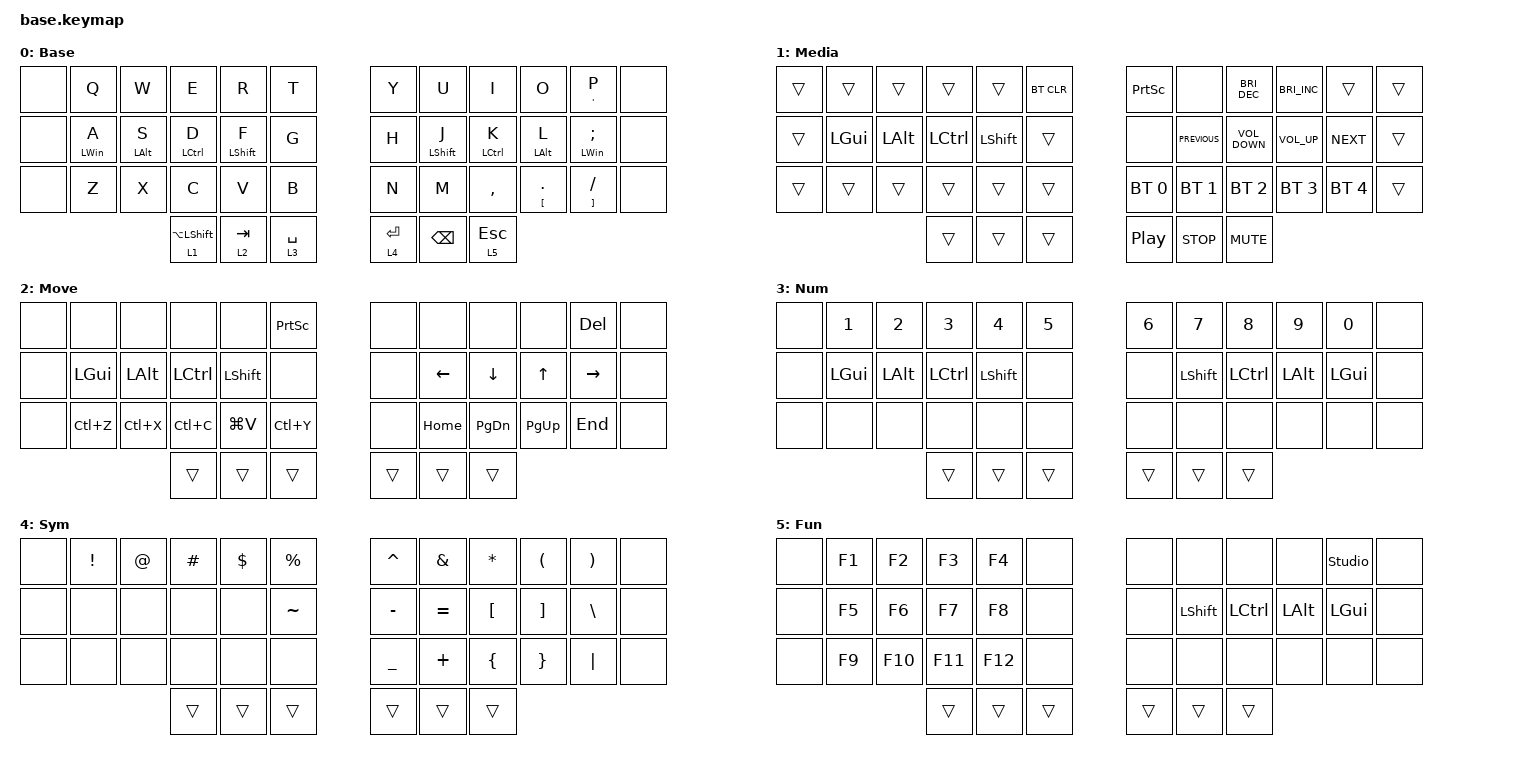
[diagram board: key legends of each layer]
#include <behaviors.dtsi>
#include <behaviors/num_word.dtsi> // requires auto-layer module
#include <dt-bindings/zmk/keys.h>
#ifdef CONFIG_WIRELESS
    #include <dt-bindings/zmk/bt.h>
    #include <dt-bindings/zmk/outputs.h>
    #define _BT_SEL_KEYS_ &bt BT_SEL 0 &bt BT_SEL 1 &bt BT_SEL 2 &bt BT_SEL 3 &bt BT_CLR
#else
    #define _BT_SEL_KEYS_ &trans &trans &trans &trans &trans
#endif

#include "zmk-helpers/helper.h"
/*
 * Copyright (c) 2020 The ZMK Contributors
 *
 * SPDX-License-Identifier: MIT
 */

#include <behaviors.dtsi>
#include <dt-bindings/zmk/bt.h>
#include <dt-bindings/zmk/keys.h>

/ {
    macros {
        lang: lang {
            compatible = "zmk,behavior-macro";
            #binding-cells = <0>;
            bindings = <&kp LA(LS(LEFT_SHIFT))>;
            label = "LANG";
        };
    };

    behaviors {
        new_behavior: new_behavior {
            compatible = "zmk,behavior-hold-tap";
            label = "NEW_BEHAVIOR";
            #binding-cells = <2>;
            hold-trigger-key-positions = <13 14 15 16 19 21 20 22>;
            flavor = "tap-preferred";
            bindings = <&mt>, <&kp>;

            tapping-term-ms = <150>;
            quick-tap-ms = <100>;
        };
    };

    keymap {
        compatible = "zmk,keymap";

        Base {
            // -----------------------------------------------------------------------------------------
            // |  TAB |  Q  |  W  |  E  |  R  |  T  |   |  Y  |  U   |  I  |  O  |  P  | BSPC |
            // | CTRL |  A  |  S  |  D  |  F  |  G  |   |  H  |  J   |  K  |  L  |  ;  |  '   |
            // | SHFT |  Z  |  X  |  C  |  V  |  B  |   |  N  |  M   |  ,  |  .  |  /  | ESC  |
            //                    | GUI | LWR | SPC |   | ENT | RSE  | ALT |

            bindings = <
&none  &kp Q           &kp W           &kp E                 &kp R             &kp T          &kp Y        &kp U             &kp I         &kp O                 &mt SQT P               &none
&none  &mt LEFT_WIN A  &mt LEFT_ALT S  &mt LCTRL D           &mt LEFT_SHIFT F  &kp G          &kp H        &mt LEFT_SHIFT J  &mt LCTRL K   &mt LEFT_ALT L        &mt LEFT_WIN SEMI       &none
&none  &kp Z           &kp X           &kp C                 &kp V             &kp B          &kp N        &kp M             &kp COMMA     &mt LEFT_BRACKET DOT  &mt RIGHT_BRACKET FSLH  &none
                                       &lt 1 LA(LEFT_SHIFT)  &lt 2 TAB         &lt 3 SPACE    &lt 4 ENTER  &kp BACKSPACE     &lt 5 ESCAPE
            >;

            label = "Base";
        };

        Media {
            bindings = <
&trans  &trans    &trans    &trans     &trans     &bt BT_CLR    &kp PRINTSCREEN   &none           &kp C_BRIGHTNESS_DEC  &kp C_BRIGHTNESS_INC  &trans        &trans
&trans  &kp LGUI  &kp LALT  &kp LCTRL  &kp LSHFT  &trans        &none             &kp C_PREVIOUS  &kp C_VOLUME_DOWN     &kp C_VOLUME_UP       &kp C_NEXT    &trans
&trans  &trans    &trans    &trans     &trans     &trans        &bt BT_SEL 0      &bt BT_SEL 1    &bt BT_SEL 2          &bt BT_SEL 3          &bt BT_SEL 4  &trans
                            &trans     &trans     &trans        &kp C_PLAY_PAUSE  &kp C_STOP      &kp C_MUTE
            >;

            label = "Media";
        };

        Move {
            bindings = <
&none  &none      &none      &none      &none      &kp PRINTSCREEN    &none   &none     &none          &none        &kp DELETE  &none
&none  &kp LGUI   &kp LALT   &kp LCTRL  &kp LSHFT  &none              &none   &kp LEFT  &kp DOWN       &kp UP       &kp RIGHT   &none
&none  &kp LC(Z)  &kp LC(X)  &kp LC(C)  &kp LG(V)  &kp LC(Y)          &none   &kp HOME  &kp PAGE_DOWN  &kp PAGE_UP  &kp END     &none
                             &trans     &trans     &trans             &trans  &trans    &trans
            >;

            label = "Move";
        };

        Number {
            bindings = <
&none  &kp N1    &kp N2    &kp N3     &kp N4     &kp N5    &kp N6  &kp N7     &kp N8     &kp N9    &kp N0    &none
&none  &kp LGUI  &kp LALT  &kp LCTRL  &kp LSHFT  &none     &none   &kp LSHFT  &kp LCTRL  &kp LALT  &kp LGUI  &none
&none  &none     &none     &none      &none      &none     &none   &none      &none      &none     &none     &none
                           &trans     &trans     &trans    &trans  &trans     &trans
            >;

            label = "Num";
        };

        Symbol {
            // -----------------------------------------------------------------------------------------
            // |  TAB |  !  |  @  |  #  |  $  |  %  |   |  ^  |  &  |  *  |  (  |  )  | BSPC |
            // | CTRL |     |     |     |     |     |   |  -  |  =  |  [  |  ]  |  \  |  `   |
            // | SHFT |     |     |     |     |     |   |  _  |  +  |  {  |  }  | "|" |  ~   |
            //                    | GUI |     | SPC |   | ENT |     | ALT |

            bindings = <
&none  &kp EXCL  &kp AT  &kp HASH  &kp DLLR  &kp PRCNT    &kp CARET  &kp AMPS   &kp ASTRK  &kp LPAR  &kp RPAR  &none
&none  &none     &none   &none     &none     &kp TILDE    &kp MINUS  &kp EQUAL  &kp LBKT   &kp RBKT  &kp BSLH  &none
&none  &none     &none   &none     &none     &none        &kp UNDER  &kp PLUS   &kp LBRC   &kp RBRC  &kp PIPE  &none
                         &trans    &trans    &trans       &trans     &trans     &trans
            >;

            label = "Sym";
        };

        Function {
            bindings = <
&none  &kp F1  &kp F2   &kp F3   &kp F4   &none     &none   &none      &none      &none     &studio_unlock    &none
&none  &kp F5  &kp F6   &kp F7   &kp F8   &none     &none   &kp LSHFT  &kp LCTRL  &kp LALT  &kp LGUI  &none
&none  &kp F9  &kp F10  &kp F11  &kp F12  &none     &none   &none      &none      &none     &none     &none
                        &trans   &trans   &trans    &trans  &trans     &trans
            >;

            label = "Fun";
        };
    };
};
